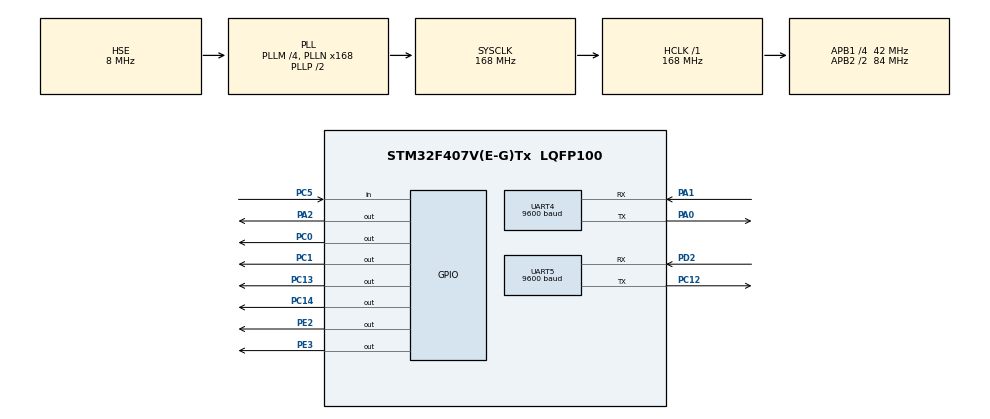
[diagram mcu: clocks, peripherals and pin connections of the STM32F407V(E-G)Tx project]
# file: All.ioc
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Mcu.Family=STM32F4
Mcu.Name=STM32F407V(E-G)Tx
Mcu.Package=LQFP100
NVIC.PriorityGroup=NVIC_PRIORITYGROUP_4
PA0-WKUP.Mode=Asynchronous
PA0-WKUP.Signal=UART4_TX
PA1.Mode=Asynchronous
PA1.Signal=UART4_RX
PA13.Mode=Serial_Wire
PA13.Signal=SYS_JTMS-SWDIO
PA14.Mode=Serial_Wire
PA14.Signal=SYS_JTCK-SWCLK
PA2.GPIO_ModeDefaultOutputPP=GPIO_MODE_OUTPUT_PP
PA2.Signal=GPIO_Output
PC0.Signal=GPIO_Output
PC1.Signal=GPIO_Output
PC12.Mode=Asynchronous
PC12.Signal=UART5_TX
PC13-ANTI_TAMP.Signal=GPIO_Output
PC14-OSC32_IN.Signal=GPIO_Output
PC5.GPIO_PuPd=GPIO_PULLUP
PC5.Signal=GPIO_Input
PD2.Mode=Asynchronous
PD2.Signal=UART5_RX
PE2.Signal=GPIO_Output
PE3.Signal=GPIO_Output
PH0-OSC_IN.Mode=HSE-External-Oscillator
PH0-OSC_IN.Signal=RCC_OSC_IN
PH1-OSC_OUT.Mode=HSE-External-Oscillator
PH1-OSC_OUT.Signal=RCC_OSC_OUT
ProjectManager.HeapSize=0x200
ProjectManager.StackSize=0x400
ProjectManager.TargetToolchain=MDK-ARM V5.27
RCC.48MHZClocksFreq_Value=84000000
RCC.AHBFreq_Value=168000000
RCC.APB1CLKDivider=RCC_HCLK_DIV4
RCC.APB1Freq_Value=42000000
RCC.APB1TimFreq_Value=84000000
RCC.APB2CLKDivider=RCC_HCLK_DIV2
RCC.APB2Freq_Value=84000000
RCC.APB2TimFreq_Value=168000000
RCC.CortexFreq_Value=168000000
RCC.HCLKFreq_Value=168000000
RCC.HSE_VALUE=8000000
RCC.HSI_VALUE=16000000
RCC.LSE_VALUE=32768
RCC.PLLM=4
RCC.PLLN=168
RCC.PLLSourceVirtual=RCC_PLLSOURCE_HSE
RCC.SYSCLKFreq_VALUE=168000000
RCC.SYSCLKSource=RCC_SYSCLKSOURCE_PLLCLK
RCC.VCOOutputFreq_Value=336000000
TIM1.Prescaler=71
UART4.BaudRate=9600
UART4.VirtualMode=Asynchronous
UART5.BaudRate=9600
UART5.VirtualMode=Asynchronous
VP_TIM1_VS_ClockSourceINT.Mode=Internal
board=custom

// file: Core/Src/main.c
/* USER CODE BEGIN Header */
/**
  ******************************************************************************
  * @file           : main.c
  * @brief          : Main program body
  ******************************************************************************
  * @attention
  *
  * <h2><center>&copy; Copyright (c) 2022 STMicroelectronics.
  * All rights reserved.</center></h2>
  *
  * This software component is licensed by ST under BSD 3-Clause license,
  * the "License"; You may not use this file except in compliance with the
  * License. You may obtain a copy of the License at:
  *                        opensource.org/licenses/BSD-3-Clause
  *
  ******************************************************************************
  */
/* USER CODE END Header */
#include "main.h"

/* USER CODE BEGIN Includes */
#include "i2c-lcd.h"
#include <stdlib.h>
#include <stdio.h>

/* USER CODE END Includes */

TIM_HandleTypeDef htim1;

UART_HandleTypeDef huart4;
UART_HandleTypeDef huart5;

void SystemClock_Config(void);
static void MX_GPIO_Init(void);
static void MX_TIM1_Init(void);
static void MX_UART4_Init(void);
static void MX_UART5_Init(void);

/* USER CODE BEGIN 0 */

#define DIR_PIN1 GPIO_PIN_0
#define DIR_PORT1 GPIOC
#define STEP_PIN1 GPIO_PIN_1
#define STEP_PORT1 GPIOC
#define DIR_PIN2 GPIO_PIN_2
#define DIR_PORT2 GPIOE
#define STEP_PIN2 GPIO_PIN_3
#define STEP_PORT2 GPIOE

void microDelay (uint16_t delay)
{
  __HAL_TIM_SET_COUNTER(&htim1, 0);
  while (__HAL_TIM_GET_COUNTER(&htim1) < delay);
}

void step1 (int steps, uint8_t direction, uint16_t delay)
{
  int x;
  if (direction == 0)
    HAL_GPIO_WritePin(DIR_PORT1, DIR_PIN1, GPIO_PIN_SET);
  else
    HAL_GPIO_WritePin(DIR_PORT1, DIR_PIN1, GPIO_PIN_RESET);
  for(x=0; x<steps; x=x+1)
  {
    HAL_GPIO_WritePin(STEP_PORT1, STEP_PIN1, GPIO_PIN_SET);
    microDelay(delay);
    HAL_GPIO_WritePin(STEP_PORT1, STEP_PIN1, GPIO_PIN_RESET);
    microDelay(delay);
  }
}
void step2 (int steps, uint8_t direction, uint16_t delay)
{
  int x;
  if (direction == 0)
    HAL_GPIO_WritePin(DIR_PORT2, DIR_PIN2, GPIO_PIN_SET);
  else
    HAL_GPIO_WritePin(DIR_PORT2, DIR_PIN2, GPIO_PIN_RESET);
  for(x=0; x<steps; x=x+1)
  {
    HAL_GPIO_WritePin(STEP_PORT2, STEP_PIN2, GPIO_PIN_SET);
    microDelay(delay);
    HAL_GPIO_WritePin(STEP_PORT2, STEP_PIN2, GPIO_PIN_RESET);
    microDelay(delay);
  }
}

/* USER CODE END 0 */

int main(void)
{
  /* USER CODE BEGIN 1 */
	uint8_t cmd = 0 ;
	uint8_t cmd1 = 'h' ;
	int demmo =0,demdong =1;
	int trangthaim1=1,trangthaim2=1,trangthaim3=0,tudong=0;

  /* USER CODE END 1 */

  /* MCU Configuration--------------------------------------------------------*/

  /* Reset of all peripherals, Initializes the Flash interface and the Systick. */
  HAL_Init();

  /* Configure the system clock */
  SystemClock_Config();

  /* Initialize all configured peripherals */
  MX_GPIO_Init();
  MX_TIM1_Init();
  MX_UART4_Init();
  MX_UART5_Init();
  /* USER CODE BEGIN 2 */
	HAL_TIM_Base_Start(&htim1);
  /* USER CODE END 2 */

  /* Infinite loop */
  /* USER CODE BEGIN WHILE */
  while (1)
  {
		if ( HAL_UART_Receive(&huart5,&cmd,1,100) == HAL_OK ){
			if ( demmo>0 ) {
				switch (cmd){
				case 'd':
					step1(80, 0, 3000);
				step2(80, 1, 3000   );
					demmo=0;
				demdong = 1;
				HAL_Delay(200);
				tudong=0;
					break;
			}
		}
						if ( demdong>0 ) {
				switch (cmd){
				case 'm':
					step1(80, 1, 3000);
					step2(80, 0, 3000);
					demdong=0;
				demmo = 1;
				HAL_Delay(200);
				tudong=0;
					break;

			}
		}
						if (cmd=='x') {trangthaim1=1;tudong=0;}
						if (cmd=='z') {trangthaim1=0;tudong=0;}
						if (cmd=='c') {trangthaim2=1;tudong=0;}
						if (cmd=='v') {trangthaim2=0;tudong=0;}
						if (cmd=='b') {trangthaim3=1;tudong=0;}
						if (cmd=='n') {trangthaim3=0;tudong=0;}
			if (cmd=='s') {trangthaim1=1;trangthaim2=1;trangthaim3=1;tudong=0;}
						if (cmd=='a') {trangthaim1=0;trangthaim2=0;trangthaim3=0;tudong=0;}
						if (cmd =='r') {
						trangthaim1=1;trangthaim2=1;trangthaim3=0;
							if (demmo==1) {
												step1(80, 0, 3000);
				step2(80, 1, 3000   );
					demmo=0;
				demdong = 1;
				HAL_Delay(200);
								tudong=0;
							}
						}
						if (cmd == 'p') tudong++;

	}
		if ( HAL_UART_Receive(&huart4,&cmd1,1,100) == HAL_OK ){
		{
		if (trangthaim2==1  ){
	step1(80, 1, 3000);
					step2(80, 0, 3000);
					demdong=0;
				demmo = 1;
				HAL_Delay(200);
				tudong=0;
	//	};
		}
		}

		}
		if ( HAL_GPIO_ReadPin(GPIOC,GPIO_PIN_5) == SET && demmo==1 && trangthaim3==1  ) {
			HAL_Delay(2000);
					step1(80, 0, 3000);
				step2(80, 1, 3000   );
					demmo=0;
				demdong = 1;
				HAL_Delay(200);
				tudong=0;
		}
		if (trangthaim1==1 && HAL_GPIO_ReadPin(GPIOC,GPIO_PIN_5) == RESET && tudong>0 && demdong==1 )
		{
					step1(80, 1, 3000);
					step2(80, 0, 3000);
					demdong=0;
				demmo = 1;
				HAL_Delay(200);
			tudong=0;
		}
	//	HAL_GPIO_WritePin(GPIOC,GPIO_PIN_13,GPIO_PIN_SET);
		if (HAL_GPIO_ReadPin(GPIOC,GPIO_PIN_5) == RESET)
  		{
					HAL_GPIO_WritePin(GPIOC,GPIO_PIN_14,GPIO_PIN_RESET);
		}
		else {HAL_GPIO_WritePin(GPIOC,GPIO_PIN_14,GPIO_PIN_SET);}

    /* USER CODE END WHILE */

  }
}

void SystemClock_Config(void)
{
  RCC_OscInitTypeDef RCC_OscInitStruct = {0};
  RCC_ClkInitTypeDef RCC_ClkInitStruct = {0};

  /** Configure the main internal regulator output voltage
  */
  __HAL_RCC_PWR_CLK_ENABLE();
  __HAL_PWR_VOLTAGESCALING_CONFIG(PWR_REGULATOR_VOLTAGE_SCALE1);
  /** Initializes the RCC Oscillators according to the specified parameters
  * in the RCC_OscInitTypeDef structure.
  */
  RCC_OscInitStruct.OscillatorType = RCC_OSCILLATORTYPE_HSE;
  RCC_OscInitStruct.HSEState = RCC_HSE_ON;
  RCC_OscInitStruct.PLL.PLLState = RCC_PLL_ON;
  RCC_OscInitStruct.PLL.PLLSource = RCC_PLLSOURCE_HSE;
  RCC_OscInitStruct.PLL.PLLM = 4;
  RCC_OscInitStruct.PLL.PLLN = 168;
  RCC_OscInitStruct.PLL.PLLP = RCC_PLLP_DIV2;
  RCC_OscInitStruct.PLL.PLLQ = 4;
  if (HAL_RCC_OscConfig(&RCC_OscInitStruct) != HAL_OK)
  {
    Error_Handler();
  }
  /** Initializes the CPU, AHB and APB buses clocks
  */
  RCC_ClkInitStruct.ClockType = RCC_CLOCKTYPE_HCLK|RCC_CLOCKTYPE_SYSCLK
                              |RCC_CLOCKTYPE_PCLK1|RCC_CLOCKTYPE_PCLK2;
  RCC_ClkInitStruct.SYSCLKSource = RCC_SYSCLKSOURCE_PLLCLK;
  RCC_ClkInitStruct.AHBCLKDivider = RCC_SYSCLK_DIV1;
  RCC_ClkInitStruct.APB1CLKDivider = RCC_HCLK_DIV4;
  RCC_ClkInitStruct.APB2CLKDivider = RCC_HCLK_DIV2;

  if (HAL_RCC_ClockConfig(&RCC_ClkInitStruct, FLASH_LATENCY_5) != HAL_OK)
  {
    Error_Handler();
  }
}

static void MX_TIM1_Init(void)
{

  TIM_ClockConfigTypeDef sClockSourceConfig = {0};
  TIM_MasterConfigTypeDef sMasterConfig = {0};

  htim1.Instance = TIM1;
  htim1.Init.Prescaler = 71;
  htim1.Init.CounterMode = TIM_COUNTERMODE_UP;
  htim1.Init.Period = 65535;
  htim1.Init.ClockDivision = TIM_CLOCKDIVISION_DIV1;
  htim1.Init.RepetitionCounter = 0;
  htim1.Init.AutoReloadPreload = TIM_AUTORELOAD_PRELOAD_DISABLE;
  if (HAL_TIM_Base_Init(&htim1) != HAL_OK)
  {
    Error_Handler();
  }
  sClockSourceConfig.ClockSource = TIM_CLOCKSOURCE_INTERNAL;
  if (HAL_TIM_ConfigClockSource(&htim1, &sClockSourceConfig) != HAL_OK)
  {
    Error_Handler();
  }
  sMasterConfig.MasterOutputTrigger = TIM_TRGO_RESET;
  sMasterConfig.MasterSlaveMode = TIM_MASTERSLAVEMODE_DISABLE;
  if (HAL_TIMEx_MasterConfigSynchronization(&htim1, &sMasterConfig) != HAL_OK)
  {
    Error_Handler();
  }

}

static void MX_UART4_Init(void)
{

  huart4.Instance = UART4;
  huart4.Init.BaudRate = 9600;
  huart4.Init.WordLength = UART_WORDLENGTH_8B;
  huart4.Init.StopBits = UART_STOPBITS_1;
  huart4.Init.Parity = UART_PARITY_NONE;
  huart4.Init.Mode = UART_MODE_TX_RX;
  huart4.Init.HwFlowCtl = UART_HWCONTROL_NONE;
  huart4.Init.OverSampling = UART_OVERSAMPLING_16;
  if (HAL_UART_Init(&huart4) != HAL_OK)
  {
    Error_Handler();
  }

}

static void MX_UART5_Init(void)
{

  huart5.Instance = UART5;
  huart5.Init.BaudRate = 9600;
  huart5.Init.WordLength = UART_WORDLENGTH_8B;
  huart5.Init.StopBits = UART_STOPBITS_1;
  huart5.Init.Parity = UART_PARITY_NONE;
  huart5.Init.Mode = UART_MODE_TX_RX;
  huart5.Init.HwFlowCtl = UART_HWCONTROL_NONE;
  huart5.Init.OverSampling = UART_OVERSAMPLING_16;
  if (HAL_UART_Init(&huart5) != HAL_OK)
  {
    Error_Handler();
  }

}

static void MX_GPIO_Init(void)
{
  GPIO_InitTypeDef GPIO_InitStruct = {0};

  /* GPIO Ports Clock Enable */
  __HAL_RCC_GPIOE_CLK_ENABLE();
  __HAL_RCC_GPIOC_CLK_ENABLE();
  __HAL_RCC_GPIOH_CLK_ENABLE();
  __HAL_RCC_GPIOA_CLK_ENABLE();
  __HAL_RCC_GPIOD_CLK_ENABLE();

  /*Configure GPIO pin Output Level */
  HAL_GPIO_WritePin(GPIOE, GPIO_PIN_2|GPIO_PIN_3, GPIO_PIN_RESET);

  /*Configure GPIO pin Output Level */
  HAL_GPIO_WritePin(GPIOC, GPIO_PIN_13|GPIO_PIN_14|GPIO_PIN_0|GPIO_PIN_1, GPIO_PIN_RESET);

  /*Configure GPIO pin Output Level */
  HAL_GPIO_WritePin(GPIOA, GPIO_PIN_2, GPIO_PIN_RESET);

  /*Configure GPIO pins : PE2 PE3 */
  GPIO_InitStruct.Pin = GPIO_PIN_2|GPIO_PIN_3;
  GPIO_InitStruct.Mode = GPIO_MODE_OUTPUT_PP;
  GPIO_InitStruct.Pull = GPIO_NOPULL;
  GPIO_InitStruct.Speed = GPIO_SPEED_FREQ_LOW;
  HAL_GPIO_Init(GPIOE, &GPIO_InitStruct);

  /*Configure GPIO pins : PC13 PC14 PC0 PC1 */
  GPIO_InitStruct.Pin = GPIO_PIN_13|GPIO_PIN_14|GPIO_PIN_0|GPIO_PIN_1;
  GPIO_InitStruct.Mode = GPIO_MODE_OUTPUT_PP;
  GPIO_InitStruct.Pull = GPIO_NOPULL;
  GPIO_InitStruct.Speed = GPIO_SPEED_FREQ_LOW;
  HAL_GPIO_Init(GPIOC, &GPIO_InitStruct);

  /*Configure GPIO pin : PA2 */
  GPIO_InitStruct.Pin = GPIO_PIN_2;
  GPIO_InitStruct.Mode = GPIO_MODE_OUTPUT_PP;
  GPIO_InitStruct.Pull = GPIO_NOPULL;
  GPIO_InitStruct.Speed = GPIO_SPEED_FREQ_LOW;
  HAL_GPIO_Init(GPIOA, &GPIO_InitStruct);

  /*Configure GPIO pin : PC5 */
  GPIO_InitStruct.Pin = GPIO_PIN_5;
  GPIO_InitStruct.Mode = GPIO_MODE_INPUT;
  GPIO_InitStruct.Pull = GPIO_PULLUP;
  HAL_GPIO_Init(GPIOC, &GPIO_InitStruct);

}

void Error_Handler(void)
{
  __disable_irq();
  while (1)
  {
  }
}

/************************ (C) COPYRIGHT STMicroelectronics *****END OF FILE****/
